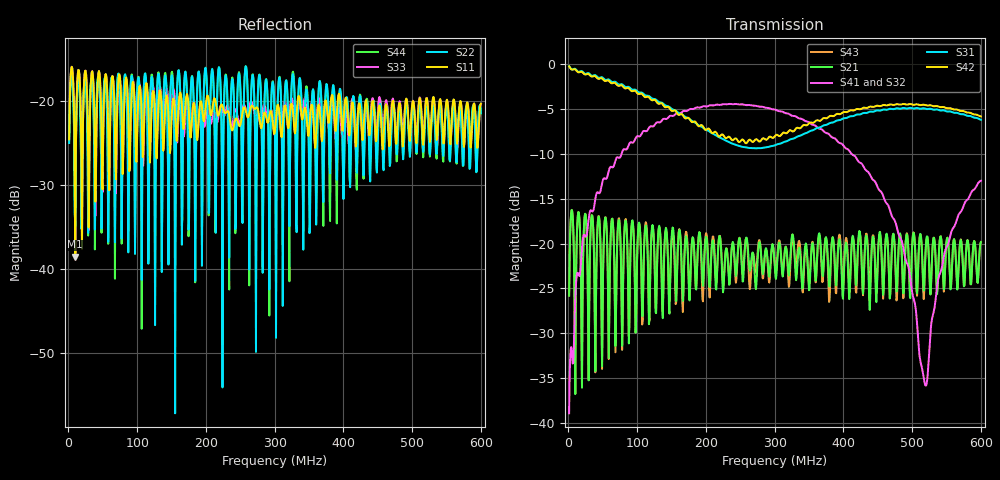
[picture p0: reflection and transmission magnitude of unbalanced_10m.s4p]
! synthetic reference sample unbalanced_10m
! measured through fixture_launch at both ends
! synthetic measurement, noise -85.0 dB
# Hz S RI R 50
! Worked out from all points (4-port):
!   801 points, 1 MHz to 600 MHz, reference 50 ohm
!   strongest paths, dB at 1 MHz, 150.8 MHz, 300.5 MHz, 450.2 MHz, 600 MHz:
!     S42: -0.3, -5.3, -8.0, -4.7, -5.9
!     S31: -0.3, -5.1, -9.1, -5.2, -6.2
!     S41: -38.9, -5.8, -5.1, -13.8, -13.0
!     S32: -38.9, -5.8, -5.1, -13.8, -13.0
!     S21: -25.8, -18.6, -23.1, -21.4, -19.8
!     S43: -25.8, -19.1, -22.7, -21.4, -19.8
!   lowest |S11| = -38.5 dB at 9.985 MHz (marker M1), VSWR 1.02, Z = 51.1 + j0.504 ohm
!   |S11| at or under -10 dB: start of sweep to end of sweep
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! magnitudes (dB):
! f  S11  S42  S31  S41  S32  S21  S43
! 1 MHz  -24.5  -0.3  -0.3  -38.9  -38.9  -25.8  -25.8
! 9.985 MHz  -38.5  -0.7  -0.6  -26.0  -26.0  -36.7  -36.7
! 90.1 MHz  -24.4  -2.9  -2.7  -8.8  -8.8  -21.2  -21.6
! 290.8 MHz  -22.5  -8.2  -9.3  -4.9  -4.9  -23.0  -23.4
! 456.2 MHz  -24.9  -4.7  -5.1  -14.4  -14.4  -22.6  -23.1
! 519.1 MHz  -20.7  -4.6  -5.0  -35.8  -36.0  -21.5  -21.8
! 600 MHz  -20.3  -5.9  -6.2  -13.0  -13.0  -19.8  -19.8
